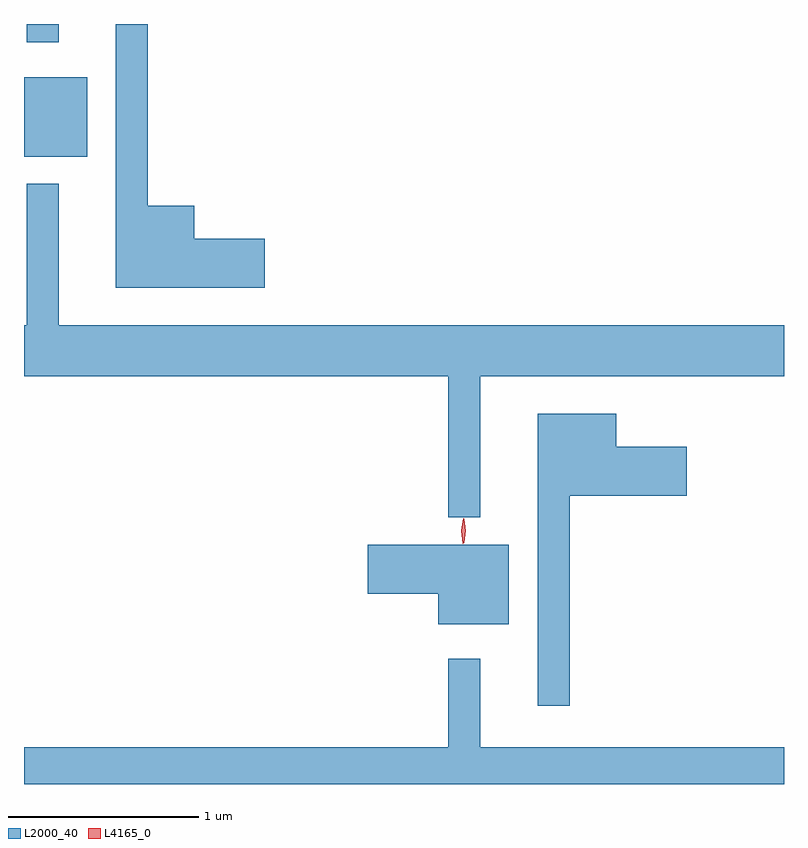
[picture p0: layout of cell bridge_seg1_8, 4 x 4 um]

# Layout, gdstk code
import gdstk
lib = gdstk.Library(unit=1e-6, precision=1e-09)
def R(c, l, rs):  # rectangles x0, y0, x1, y1
    for r in rs: c.add(gdstk.rectangle(r[:2], r[2:], *l))
def P(c, l, *ps):  # polygons
    for p in ps: c.add(gdstk.Polygon(p, *l))
L2000_40 = (2000, 40)
L4165_0 = (4165, 0)

bridge_seg1_8 = lib.new_cell('bridge_seg1_8')
R(bridge_seg1_8, L2000_40, [(1562.877,858.551,1563.209,858.969), (1562.891,859.153,1563.059,859.25)])
P(bridge_seg1_8, L2000_40, [(1564.144,858.119),(1563.774,858.119),(1563.774,858.294),(1563.529,858.294),(1563.529,859.25),(1563.361,859.25),(1563.361,857.861),(1564.144,857.861)],
  [(1565.279,857.396),(1566.877,857.396),(1566.877,857.664),(1563.059,857.664),(1563.059,858.408),(1562.891,858.408),(1562.891,857.664),(1562.877,857.664),(1562.877,857.396),(1565.111,857.396),(1565.111,856.653),(1565.279,856.653)],
  [(1565.749,856.766),(1566.364,856.766),(1566.364,857.024),(1565.994,857.024),(1565.994,857.199),(1565.581,857.199),(1565.581,855.663),(1565.749,855.663)],
  [(1565.429,856.509),(1564.686,856.509),(1564.686,856.251),(1565.056,856.251),(1565.056,856.091),(1565.429,856.091)],
  [(1566.877,855.444),(1565.279,855.444),(1565.279,855.908),(1565.111,855.908),(1565.111,855.444),(1562.877,855.444),(1562.877,855.25),(1566.877,855.25)])
P(bridge_seg1_8, L4165_0, [(1565.192,856.52),(1565.192,856.52),(1565.182,856.584),(1565.192,856.646),(1565.192,856.647),(1565.193,856.646),(1565.202,856.584),(1565.193,856.52)],
  [(1565.187,856.514),(1565.179,856.582),(1565.189,856.65),(1565.19,856.65),(1565.19,856.65),(1565.199,856.582),(1565.188,856.514),(1565.188,856.514)])

lib.write_gds('bridge_seg1_8.gds')
